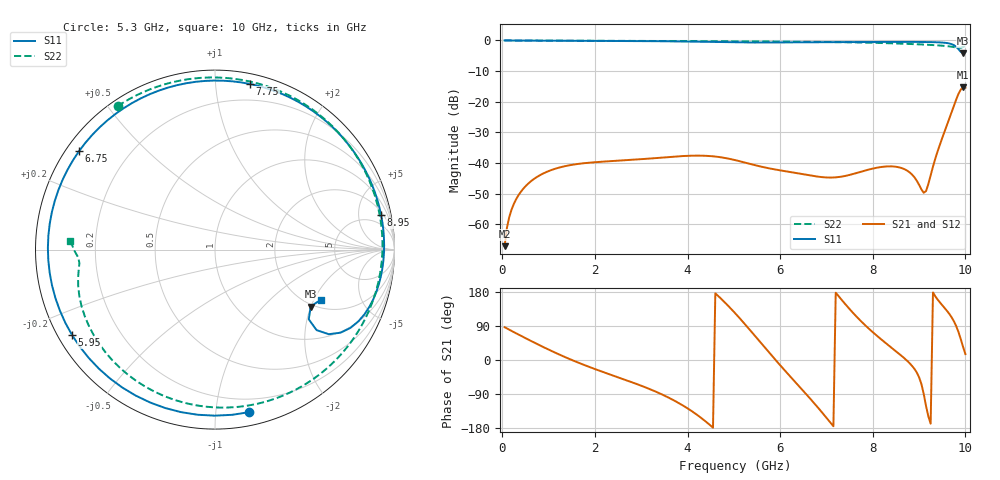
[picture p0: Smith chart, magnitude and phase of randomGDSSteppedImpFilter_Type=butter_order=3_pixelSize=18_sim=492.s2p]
! freq	dB(S11)	phase(S11)	dB(S12)	phase(S12)
!  dB(S21)	phase(S21)	dB(S22)	phase(S22)
!S-par simulation data
#  GHz  S  DB  R 50
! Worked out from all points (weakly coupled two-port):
!   200 points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, 50 MHz to 10 GHz, reference 50 ohm
!   highest |S21| = -15.35 dB at 9.95 GHz (marker M1); lowest = -67.2 dB at 50 MHz (marker M2)
!   lowest |S11| = -4.1 dB at 9.95 GHz (marker M3), VSWR 4.27, Z = 96.6 - j99.5 ohm
!   |S11| at or under -10 dB: nowhere
!   |S22| runs from -2.4 to 0.0 dB; largest |S21 - S12| = 0
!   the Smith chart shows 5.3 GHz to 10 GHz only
!   S11 on the Smith chart (normalised r, x): 5.3 GHz: 0.10, -1.23; 5.95 GHz: 0.04, -0.28; 6.75 GHz: 0.04, +0.32; 7.75 GHz: 0.07, +1.23; 8.95 GHz: 2.53, +9.08; 10 GHz: 2.33, -2.26
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0.05  -0.01 -4.1  -67.15 86.6  -67.15 86.6  -0.00 -2.6
0.2  -0.02 -16.3  -55.21 76.7  -55.21 76.7  -0.01 -10.1
0.5  -0.05 -40.2  -47.61 57.7  -47.61 57.7  -0.03 -25.1
1.1  -0.10 -85.1  -42.08 21.7  -42.08 21.7  -0.06 -54.3
1.75  -0.14 -128.7  -40.09 -12.3  -40.09 -12.3  -0.10 -84.4
2.6  -0.18 178.3  -39.17 -50.0  -39.17 -50.0  -0.14 -121.2
3.4  -0.25 124.7  -38.28 -88.2  -38.28 -88.2  -0.18 -154.2
4.15  -0.40 60.0  -37.60 -139.9  -37.60 -139.9  -0.22 174.9
4.65  -0.55 3.7  -37.99 170.3  -37.99 170.3  -0.25 153.6
5.05  -0.64 -46.8  -39.14 120.6  -39.14 120.6  -0.28 135.8
5.3  -0.67 -78.0  -40.10 86.0  -40.10 86.0  -0.30 124.2
5.95  -0.65 -149.1  -42.27 -6.9  -42.27 -6.9  -0.36 91.7
6.7  -0.59 147.8  -44.20 -109.1  -44.20 -109.1  -0.45 49.5
6.75  -0.58 144.1  -44.31 -116.1  -44.31 -116.1  -0.46 46.5
7.25  -0.54 109.5  -44.62 170.2  -44.62 170.2  -0.55 15.2
7.75  -0.51 78.1  -42.84 101.9  -42.84 101.9  -0.68 -18.2
8.35  -0.48 43.5  -41.10 37.8  -41.10 37.8  -0.91 -60.5
8.95  -0.49 11.7  -45.77 -33.0  -45.77 -33.0  -1.24 -105.2
9.15  -0.51 1.4  -49.18 -121.3  -49.18 -121.3  -1.38 -120.7
9.75  -1.52 -33.5  -21.42 102.7  -21.42 102.7  -2.17 -168.3
9.95  -4.15 -30.7  -15.35 34.7  -15.35 34.7  -2.14 -179.3
10  -3.72 -25.4  -15.43 15.6  -15.43 15.6  -1.87 176.7
